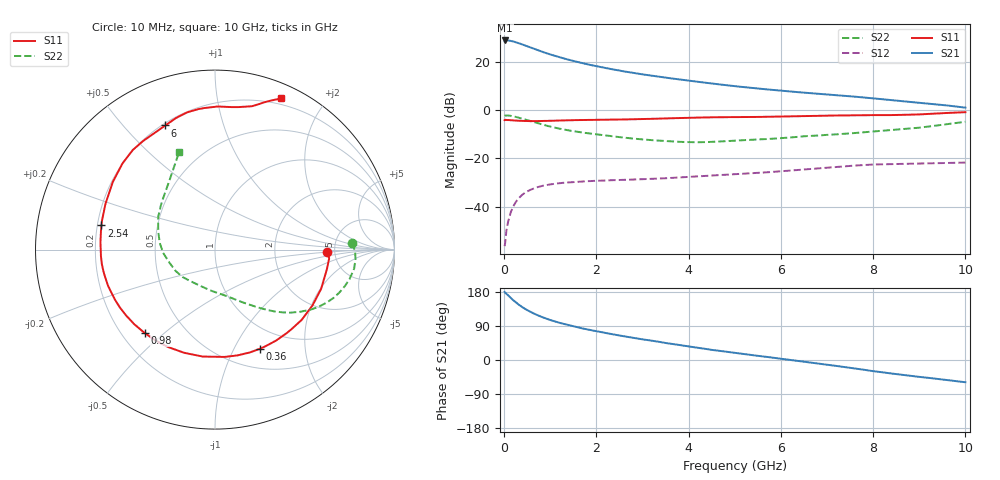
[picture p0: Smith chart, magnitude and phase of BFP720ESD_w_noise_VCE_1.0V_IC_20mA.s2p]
! Infineon Technologies  Discrete & RF Semiconductors
! BFP720ESD
! VCE =  1.0 V,  IC =  20 mA
! Common Emitter S-Parameters:  Jan 2016
# GHz  S  MA  R  50
!  f  S11  S21  S12  S22
! GHz  MAG  ANG  MAG  ANG  MAG  ANG  MAG  ANG
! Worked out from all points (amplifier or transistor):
!   233 points, 10 MHz to 10 GHz, reference 50 ohm
!   highest |S21| = 29.1 dB at 20 MHz (marker M1)
!   |S21| within 3 dB of that: start of sweep to 581 MHz
!   unconditionally stable (mu >= 1): start of sweep to 87.57 MHz; 2.314 GHz to 9.667 GHz
!   at 200 MHz: K = 0.56, MSG = 34.3 dB, |S12| = -39.9 dB
!   at 1.74 GHz: K = 0.80, MSG = 24.5 dB, |S12| = -29.5 dB
!   at 10 GHz: K = 0.83, MSG = 11.4 dB, |S12| = -21.7 dB
!   lowest NFmin = 0.95 dB at 450 MHz
!   S11 on the Smith chart (normalised r, x): 10 MHz: 4.34, -0.19; 360 MHz: 0.73, -1.28; 980 MHz: 0.29, -0.43; 2.54 GHz: 0.22, +0.10; 6 GHz: 0.21, +0.66; 10 GHz: 0.14, +1.52
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0.01  0.6263 -1.2  27.09 179.9  0.0015 33.1  0.7649 2.8
0.02  0.6379 -4.4  28.49 177.9  0.0017 43.0  0.7811 -0.9
0.05  0.633 -9.8  28.45 175.0  0.0032 58.9  0.7851 -3.6
0.1  0.6305 -20.3  28.49 168.8  0.0055 65.6  0.7824 -7.8
0.2  0.6215 -39.1  27.12 157.4  0.0101 65.6  0.7528 -15.5
0.3  0.6105 -56.1  25.31 147.4  0.0143 60.5  0.7136 -22.1
0.36  0.6066 -65.5  24.18 142.3  0.0164 57.5  0.6865 -25.6
0.45  0.6025 -78.1  22.49 135.1  0.0193 53.4  0.6479 -30.1
0.6  0.5999 -96.5  19.87 124.9  0.023 47.2  0.5858 -36.3
0.8  0.6024 -115.8  16.87 114.3  0.0266 40.6  0.516 -42.7
0.98  0.6069 -129.8  14.79 106.4  0.0287 36.2  0.4654 -47.2
1.3  0.6204 -148.5  12 94.8  0.0313 30.6  0.3992 -53.6
1.68  0.6305 -164.8  9.707 83.9  0.0331 26.8  0.3484 -59.8
2.06  0.6365 -177.9  8.088 74.6  0.0345 24.4  0.3134 -65.3
2.54  0.6469 168.0  6.627 63.9  0.0358 22.7  0.2754 -73.5
3.4  0.6769 148.5  4.953 47.1  0.0385 22.5  0.2336 -92.3
4.2  0.7091 134.0  3.937 32.3  0.0423 22.7  0.2177 -115.9
5.1  0.7263 122.4  3.119 17.3  0.0474 22.2  0.2378 -141.9
6  0.7455 111.9  2.573 3.2  0.054 21.0  0.2646 -164.2
6.8  0.7733 103.4  2.216 -9.2  0.0621 17.6  0.3004 177.2
8.4  0.7996 83.1  1.633 -35.7  0.0765 3.1  0.3886 141.0
10  0.918 66.5  1.141 -58.7  0.0823 -8.9  0.5804 110.1
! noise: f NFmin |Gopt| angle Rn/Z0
0.45  0.95  0.04  -8  0.11
0.9  0.97  0.03  -30  0.12
1.9  0.99  0.04  -77  0.14
2.4  1  0.06  -94  0.15
5.5  1.16  0.21  -108  0.13
10  1.52  0.52  -86  0.45
